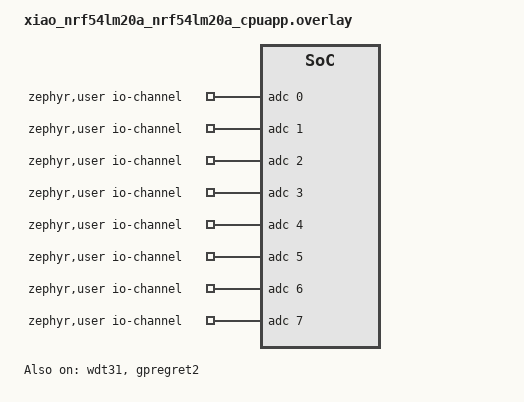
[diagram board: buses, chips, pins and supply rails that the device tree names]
/*
 * Optional board defaults — runtime display pins come from OpenDisplay config.
 */
/ {
	chosen {
		zephyr,console = &uart20;
	};

	/*
	 * Expose all 8 SAADC channels (board DTS channel@0..7 => AIN0..AIN7) so
	 * the battery driver can pick one at runtime by index from the
	 * configured battery_sense_pin (P1.0n => AINn).
	 */
	zephyr,user {
		io-channels = <&adc 0>, <&adc 1>, <&adc 2>, <&adc 3>,
			      <&adc 4>, <&adc 5>, <&adc 6>, <&adc 7>;
	};
};

/*
 * spi23 IS THE XIAO SPI ON THIS BOARD, and it sits on the panel bus.
 *
 * seeed_xiao_connector.dtsi maps `xiao_spi: &spi23`, and spi23_default psels are
 * SPIM_SCK P1.04 (D8) and SPIM_MOSI P1.06 (D10) -- the two pads the panel's CLK and DATA
 * are wired to. The board DTS leaves spi23 status = "okay", so the SPIM peripheral and the
 * firmware's bit-bang both drive them: two owners, one pad. The panel then receives no
 * valid transaction, never asserts BUSY, and every refresh ends in the 60 s
 * "BUSY NEVER ASSERTED" while the BLE image upload itself succeeds.
 *
 * spi00 is a different instance on P2.01/P2.02/P2.04 (the nRF54L15's panel bus, not this
 * board's). Nothing here uses the Zephyr SPI API, so both stay disabled and the pads stay
 * plain GPIO.
 */
&spi23 {
	status = "disabled";
};

&spi00 {
	status = "disabled";
};

/* Onboard IMU is unused on the ePaper breakout; skip its failing boot probe. */
&lsm6ds3tr_c {
	status = "disabled";
};

/*
 * i2c22 is the XIAO I2C here (seeed_xiao_connector.dtsi: `xiao_i2c: &i2c22`), and its
 * TWIM_SCL psel is P1.07 -- D5, the display BUSY line. Left enabled, the open-drain pull-up
 * holds BUSY at the I2C idle level instead of following the panel, so every bbepWaitBusy()
 * times out. TWIM_SDA is P1.03 (D4). No firmware path uses the Zephyr I2C API.
 */
&i2c22 {
	status = "disabled";
};

/*
 * Watchdog and its retained byte. Both ship disabled on nRF54L (the SoC dtsi does not enable
 * either), while the nRF52840 gets both from nrf52840.dtsi -- so this overlay is what makes one
 * src/od_hal_wdt.c serve all three boards.
 *
 * gpregret2 and NOT gpregret1: gpregret1 is retained-register 0, which MCUboot and the DFU
 * handshake use. See src/od_hal_wdt.c.
 */
&wdt31 {
	status = "okay";
};

&gpregret2 {
	status = "okay";
};
